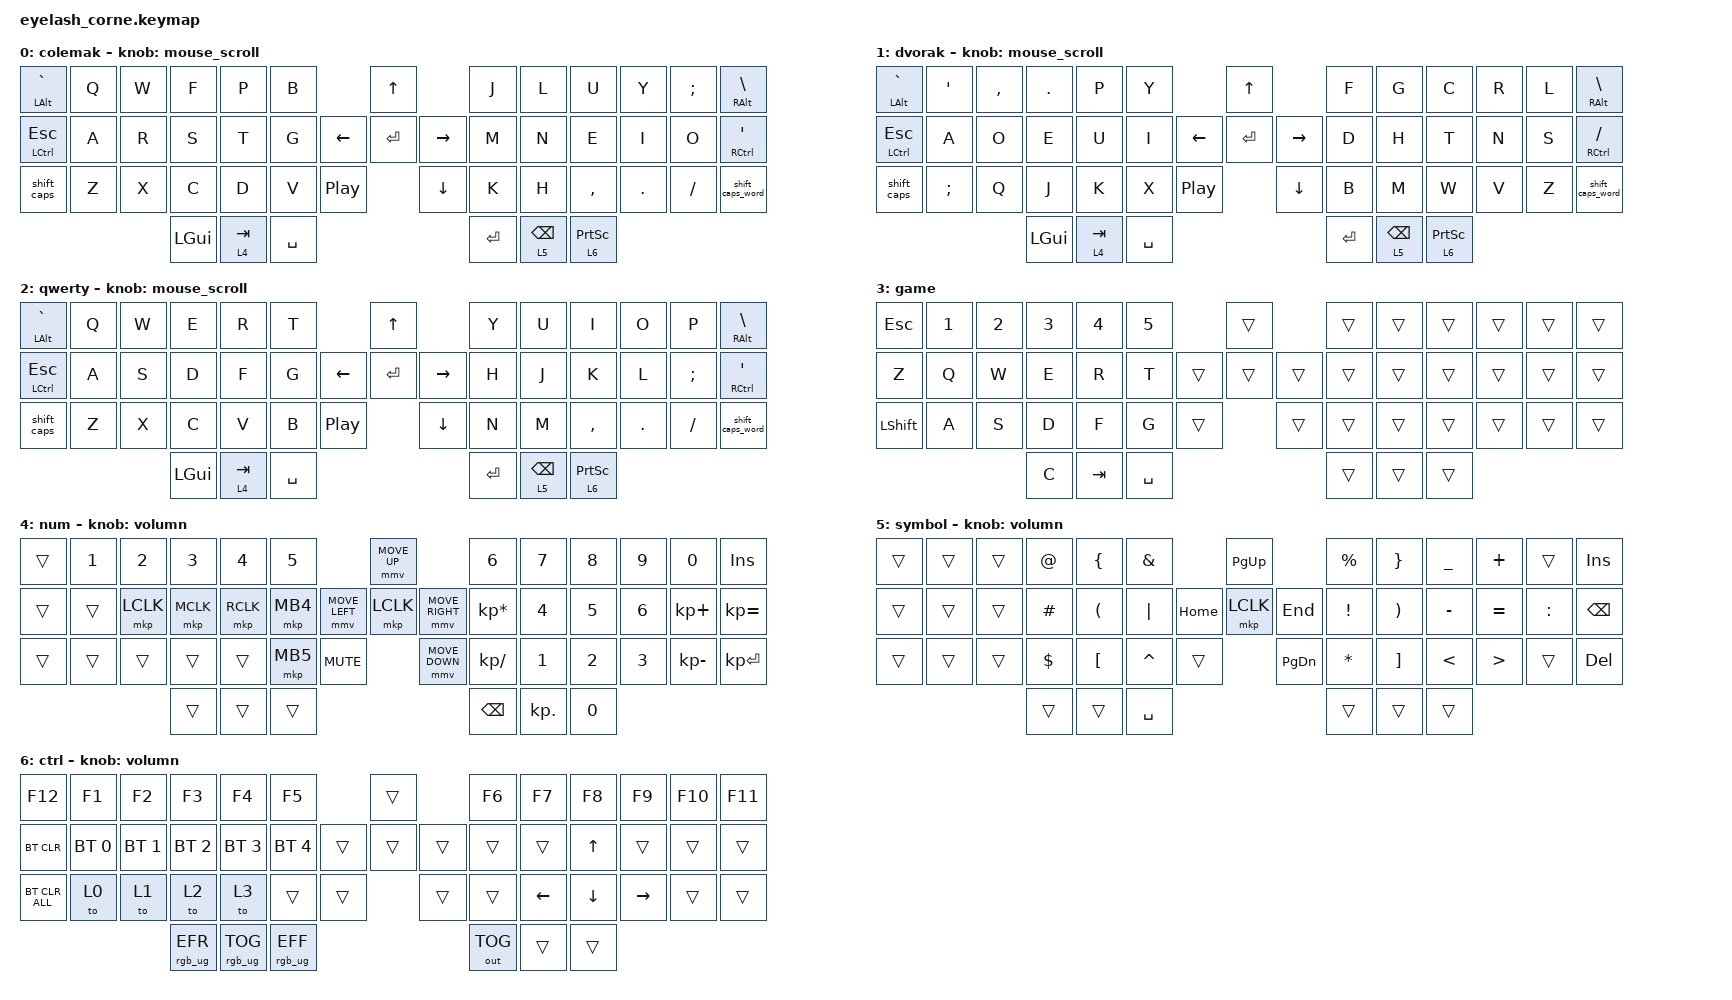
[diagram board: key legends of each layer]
#include <dt-bindings/zmk/mouse.h>
#include <input/processors.dtsi>
#include <behaviors.dtsi>
#include <dt-bindings/zmk/bt.h>
#include <dt-bindings/zmk/keys.h>
#include <dt-bindings/zmk/outputs.h>
#include <dt-bindings/zmk/pointing.h>
#include <dt-bindings/zmk/rgb.h>

/*

   &mmv_input_listener {
       input-processors = <&zip_xy_scaler 2 1>;
   };

   &msc_input_listener {
       input-processors = <&zip_xy_scaler 2 1>;
   };

 */

#define ZMK_MOUSE_DEFAULT_MOVE_VAL 1200  // 600
#define ZMK_MOUSE_DEFAULT_SCRL_VAL 20    // 10
#define ZMK_MOUSE_SCRL_VAL 140

/ {
    behaviors {
        volumn: volumn {
            compatible = "zmk,behavior-sensor-rotate";
            label = "VOLUMN";
            #sensor-binding-cells = <0>;
            bindings = <&kp C_VOL_UP>, <&kp C_VOL_DN>;
        };
    };

    shift_caps: shift_caps {
        compatible = "zmk,behavior-tap-dance";
        label = "SHIFT_CAPS";
        #binding-cells = <0>;
        bindings = <&kp LEFT_SHIFT>, <&kp CAPS>;
    };

    mouse_scroll: mouse_scroll {
        compatible = "zmk,behavior-sensor-rotate";
        label = "MOUSE_SCROLL";
        #sensor-binding-cells = <0>;
        bindings =
            <&msc MOVE_Y(-ZMK_MOUSE_SCRL_VAL)>,
            <&msc MOVE_Y(ZMK_MOUSE_SCRL_VAL)>;

        tap-ms = <20>;
    };

    shift_caps_word: shift_caps_word {
        compatible = "zmk,behavior-tap-dance";
        label = "SHIFT_CAPS_WORD";
        #binding-cells = <0>;
        bindings = <&kp RIGHT_SHIFT>, <&caps_word>;
    };

    combos {
        compatible = "zmk,combos";

        bl {
            bindings = <&bootloader>;
            key-positions = <28 41>;
        };
    };

    keymap {
        compatible = "zmk,keymap";

        colemak-dh {
            display-name = "colemak";
            bindings = <
&mt LEFT_ALT GRAVE  &kp Q  &kp W  &kp F     &kp P      &kp B                                    &kp UP                &kp J      &kp L            &kp U        &kp Y    &kp SEMI  &mt RIGHT_ALT BSLH
&mt LCTRL ESC       &kp A  &kp R  &kp S     &kp T      &kp G                          &kp LEFT  &kp ENTER  &kp RIGHT  &kp M      &kp N            &kp E        &kp I    &kp O     &mt RIGHT_CONTROL SQT
&shift_caps         &kp Z  &kp X  &kp C     &kp D      &kp V      &kp C_PLAY_PAUSE              &kp DOWN              &kp K      &kp H            &kp COMMA    &kp DOT  &kp FSLH  &shift_caps_word
                                  &kp LGUI  &lt 4 TAB  &kp SPACE                                                      &kp ENTER  &lt 5 BACKSPACE  &lt 6 PSCRN
            >;

            sensor-bindings = <&mouse_scroll>;
        };

        dvorak {
            display-name = "dvorak";
            bindings = <
&mt LEFT_ALT GRAVE  &kp APOS  &kp COMMA  &kp DOT   &kp P      &kp Y                                    &kp UP                &kp F      &kp G            &kp C        &kp R  &kp L  &mt RIGHT_ALT BSLH
&mt LCTRL ESC       &kp A     &kp O      &kp E     &kp U      &kp I                          &kp LEFT  &kp ENTER  &kp RIGHT  &kp D      &kp H            &kp T        &kp N  &kp S  &mt RIGHT_CONTROL FSLH
&shift_caps         &kp SEMI  &kp Q      &kp J     &kp K      &kp X      &kp C_PLAY_PAUSE              &kp DOWN              &kp B      &kp M            &kp W        &kp V  &kp Z  &shift_caps_word
                                         &kp LGUI  &lt 4 TAB  &kp SPACE                                                      &kp ENTER  &lt 5 BACKSPACE  &lt 6 PSCRN
            >;

            sensor-bindings = <&mouse_scroll>;
        };

        qwerty {
            display-name = "qwerty";
            bindings = <
&mt LEFT_ALT GRAVE  &kp Q  &kp W  &kp E     &kp R      &kp T                                    &kp UP                &kp Y      &kp U            &kp I        &kp O    &kp P     &mt RIGHT_ALT BSLH
&mt LCTRL ESC       &kp A  &kp S  &kp D     &kp F      &kp G                          &kp LEFT  &kp ENTER  &kp RIGHT  &kp H      &kp J            &kp K        &kp L    &kp SEMI  &mt RIGHT_CONTROL SQT
&shift_caps         &kp Z  &kp X  &kp C     &kp V      &kp B      &kp C_PLAY_PAUSE              &kp DOWN              &kp N      &kp M            &kp COMMA    &kp DOT  &kp FSLH  &shift_caps_word
                                  &kp LGUI  &lt 4 TAB  &kp SPACE                                                      &kp ENTER  &lt 5 BACKSPACE  &lt 6 PSCRN
            >;

            sensor-bindings = <&mouse_scroll>;
        };

        game {
            bindings = <
&kp ESC         &kp N1  &kp N2  &kp N3  &kp N4   &kp N5                       &trans          &trans  &trans  &trans  &trans  &trans  &trans
&kp Z           &kp Q   &kp W   &kp E   &kp R    &kp T                &trans  &trans  &trans  &trans  &trans  &trans  &trans  &trans  &trans
&kp LEFT_SHIFT  &kp A   &kp S   &kp D   &kp F    &kp G      &trans            &trans          &trans  &trans  &trans  &trans  &trans  &trans
                                &kp C   &kp TAB  &kp SPACE                                    &trans  &trans  &trans
            >;

            label = "game";
        };

        number {
            display-name = "num";
            bindings = <
&trans  &kp N1  &kp N2     &kp N3     &kp N4     &kp N5                                  &mmv MOVE_UP                     &kp N6           &kp N7      &kp N8  &kp N9  &kp N0        &kp INSERT
&trans  &trans  &mkp LCLK  &mkp MCLK  &mkp RCLK  &mkp MB4                &mmv MOVE_LEFT  &mkp LCLK       &mmv MOVE_RIGHT  &kp KP_MULTIPLY  &kp N4      &kp N5  &kp N6  &kp KP_PLUS   &kp KP_EQUAL
&trans  &trans  &trans     &trans     &trans     &mkp MB5  &kp C_MUTE                    &mmv MOVE_DOWN                   &kp KP_DIVIDE    &kp N1      &kp N2  &kp N3  &kp KP_MINUS  &kp KP_ENTER
                           &trans     &trans     &trans                                                                   &kp BACKSPACE    &kp KP_DOT  &kp N0
            >;

            sensor-bindings = <&volumn>;
        };

        symbol {
            display-name = "symbol";
            bindings = <
&trans  &trans  &trans  &kp AT_SIGN  &kp LBRC              &kp AMPERSAND                      &kp PAGE_UP             &kp PERCENT  &kp RBRC  &kp UNDERSCORE  &kp PLUS          &trans     &kp INSERT
&trans  &trans  &trans  &kp HASH     &kp LEFT_PARENTHESIS  &kp PIPE                 &kp HOME  &mkp LCLK      &kp END  &kp EXCL     &kp RPAR  &kp MINUS       &kp EQUAL         &kp COLON  &kp BACKSPACE
&trans  &trans  &trans  &kp DOLLAR   &kp LEFT_BRACKET      &kp CARET      &trans              &kp PAGE_DOWN           &kp ASTRK    &kp RBKT  &kp LESS_THAN   &kp GREATER_THAN  &trans     &kp DELETE
                        &trans       &trans                &kp SPACE                                                  &trans       &trans    &trans
            >;

            sensor-bindings = <&volumn>;
        };

        ctrl {
            display-name = "ctrl";
            bindings = <
&kp F12         &kp F1        &kp F2        &kp F3           &kp F4           &kp F5                             &trans          &kp F6        &kp F7    &kp F8    &kp F9     &kp F10  &kp F11
&bt BT_CLR      &bt BT_SEL 0  &bt BT_SEL 1  &bt BT_SEL 2     &bt BT_SEL 3     &bt BT_SEL 4               &trans  &trans  &trans  &trans        &trans    &kp UP    &trans     &trans   &trans
&bt BT_CLR_ALL  &to 0         &to 1         &to 2            &to 3            &trans           &trans            &trans          &trans        &kp LEFT  &kp DOWN  &kp RIGHT  &trans   &trans
                                            &rgb_ug RGB_EFR  &rgb_ug RGB_TOG  &rgb_ug RGB_EFF                                    &out OUT_TOG  &trans    &trans
            >;

            sensor-bindings = <&volumn>;
        };
    };
};
